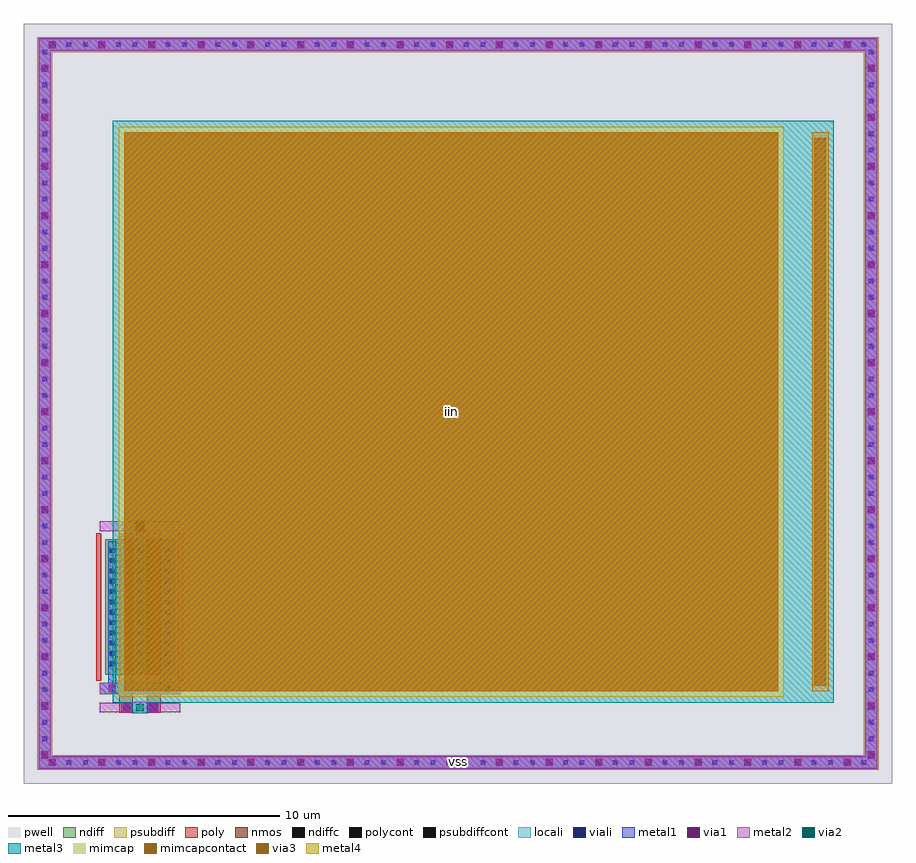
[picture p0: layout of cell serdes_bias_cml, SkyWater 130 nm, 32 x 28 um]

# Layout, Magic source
magic
tech sky130A
magscale 1 2
<< pwell >>
rect 0 0 6400 5600
<< psubdiff >>
rect 100 100 6300 210
rect 100 5390 6300 5500
rect 100 100 210 5500
rect 6190 100 6300 5500
<< locali >>
rect 112 112 6288 198
rect 112 5402 6288 5488
rect 112 112 198 5488
rect 6202 112 6288 5488
rect 720 526 788 594
rect 924 526 992 594
rect 560 656 1152 744
rect 624 656 680 1784
rect 828 816 884 1896
rect 1032 656 1088 1784
<< metal1 >>
rect 110 110 6290 200
rect 110 5400 6290 5490
rect 110 110 200 5490
rect 6200 110 6290 5490
rect 176 121 244 189
rect 176 5411 244 5479
rect 542 121 610 189
rect 542 5411 610 5479
rect 908 121 976 189
rect 908 5411 976 5479
rect 1274 121 1342 189
rect 1274 5411 1342 5479
rect 1640 121 1708 189
rect 1640 5411 1708 5479
rect 2007 121 2075 189
rect 2007 5411 2075 5479
rect 2373 121 2441 189
rect 2373 5411 2441 5479
rect 2739 121 2807 189
rect 2739 5411 2807 5479
rect 3105 121 3173 189
rect 3105 5411 3173 5479
rect 3471 121 3539 189
rect 3471 5411 3539 5479
rect 3837 121 3905 189
rect 3837 5411 3905 5479
rect 4203 121 4271 189
rect 4203 5411 4271 5479
rect 4569 121 4637 189
rect 4569 5411 4637 5479
rect 4936 121 5004 189
rect 4936 5411 5004 5479
rect 5302 121 5370 189
rect 5302 5411 5370 5479
rect 5668 121 5736 189
rect 5668 5411 5736 5479
rect 6034 121 6102 189
rect 6034 5411 6102 5479
rect 121 176 189 244
rect 6211 176 6279 244
rect 121 537 189 605
rect 6211 537 6279 605
rect 121 899 189 967
rect 6211 899 6279 967
rect 121 1260 189 1328
rect 6211 1260 6279 1328
rect 121 1622 189 1690
rect 6211 1622 6279 1690
rect 121 1983 189 2051
rect 6211 1983 6279 2051
rect 121 2344 189 2412
rect 6211 2344 6279 2412
rect 121 2706 189 2774
rect 6211 2706 6279 2774
rect 121 3067 189 3135
rect 6211 3067 6279 3135
rect 121 3429 189 3497
rect 6211 3429 6279 3497
rect 121 3790 189 3858
rect 6211 3790 6279 3858
rect 121 4151 189 4219
rect 6211 4151 6279 4219
rect 121 4513 189 4581
rect 6211 4513 6279 4581
rect 121 4874 189 4942
rect 6211 4874 6279 4942
rect 121 5236 189 5304
rect 6211 5236 6279 5304
rect 720 526 788 594
rect 924 526 992 594
rect 560 656 1152 744
rect 624 656 680 1784
rect 618 666 686 734
rect 828 816 884 1928
rect 822 1862 890 1930
rect 1032 656 1088 1784
rect 1026 666 1094 734
<< metal2 >>
rect 110 110 6290 200
rect 110 5400 6290 5490
rect 110 110 200 5490
rect 6200 110 6290 5490
rect 176 121 244 189
rect 176 5411 244 5479
rect 542 121 610 189
rect 542 5411 610 5479
rect 908 121 976 189
rect 908 5411 976 5479
rect 1274 121 1342 189
rect 1274 5411 1342 5479
rect 1640 121 1708 189
rect 1640 5411 1708 5479
rect 2007 121 2075 189
rect 2007 5411 2075 5479
rect 2373 121 2441 189
rect 2373 5411 2441 5479
rect 2739 121 2807 189
rect 2739 5411 2807 5479
rect 3105 121 3173 189
rect 3105 5411 3173 5479
rect 3471 121 3539 189
rect 3471 5411 3539 5479
rect 3837 121 3905 189
rect 3837 5411 3905 5479
rect 4203 121 4271 189
rect 4203 5411 4271 5479
rect 4569 121 4637 189
rect 4569 5411 4637 5479
rect 4936 121 5004 189
rect 4936 5411 5004 5479
rect 5302 121 5370 189
rect 5302 5411 5370 5479
rect 5668 121 5736 189
rect 5668 5411 5736 5479
rect 6034 121 6102 189
rect 6034 5411 6102 5479
rect 121 176 189 244
rect 6211 176 6279 244
rect 121 537 189 605
rect 6211 537 6279 605
rect 121 899 189 967
rect 6211 899 6279 967
rect 121 1260 189 1328
rect 6211 1260 6279 1328
rect 121 1622 189 1690
rect 6211 1622 6279 1690
rect 121 1983 189 2051
rect 6211 1983 6279 2051
rect 121 2344 189 2412
rect 6211 2344 6279 2412
rect 121 2706 189 2774
rect 6211 2706 6279 2774
rect 121 3067 189 3135
rect 6211 3067 6279 3135
rect 121 3429 189 3497
rect 6211 3429 6279 3497
rect 121 3790 189 3858
rect 6211 3790 6279 3858
rect 121 4151 189 4219
rect 6211 4151 6279 4219
rect 121 4513 189 4581
rect 6211 4513 6279 4581
rect 121 4874 189 4942
rect 6211 4874 6279 4942
rect 121 5236 189 5304
rect 6211 5236 6279 5304
rect 720 526 788 594
rect 924 526 992 594
rect 560 524 1152 596
rect 560 656 1152 744
rect 560 1860 1152 1932
rect 618 666 686 734
rect 822 1862 890 1930
rect 1026 666 1094 734
rect 814 518 898 602
rect 814 1854 898 1938
<< psubdiffcont >>
rect 193 138 227 172
rect 193 5428 227 5462
rect 315 138 349 172
rect 315 5428 349 5462
rect 437 138 471 172
rect 437 5428 471 5462
rect 559 138 593 172
rect 559 5428 593 5462
rect 681 138 715 172
rect 681 5428 715 5462
rect 803 138 837 172
rect 803 5428 837 5462
rect 925 138 959 172
rect 925 5428 959 5462
rect 1047 138 1081 172
rect 1047 5428 1081 5462
rect 1169 138 1203 172
rect 1169 5428 1203 5462
rect 1291 138 1325 172
rect 1291 5428 1325 5462
rect 1413 138 1447 172
rect 1413 5428 1447 5462
rect 1535 138 1569 172
rect 1535 5428 1569 5462
rect 1657 138 1691 172
rect 1657 5428 1691 5462
rect 1780 138 1814 172
rect 1780 5428 1814 5462
rect 1902 138 1936 172
rect 1902 5428 1936 5462
rect 2024 138 2058 172
rect 2024 5428 2058 5462
rect 2146 138 2180 172
rect 2146 5428 2180 5462
rect 2268 138 2302 172
rect 2268 5428 2302 5462
rect 2390 138 2424 172
rect 2390 5428 2424 5462
rect 2512 138 2546 172
rect 2512 5428 2546 5462
rect 2634 138 2668 172
rect 2634 5428 2668 5462
rect 2756 138 2790 172
rect 2756 5428 2790 5462
rect 2878 138 2912 172
rect 2878 5428 2912 5462
rect 3000 138 3034 172
rect 3000 5428 3034 5462
rect 3122 138 3156 172
rect 3122 5428 3156 5462
rect 3244 138 3278 172
rect 3244 5428 3278 5462
rect 3366 138 3400 172
rect 3366 5428 3400 5462
rect 3488 138 3522 172
rect 3488 5428 3522 5462
rect 3610 138 3644 172
rect 3610 5428 3644 5462
rect 3732 138 3766 172
rect 3732 5428 3766 5462
rect 3854 138 3888 172
rect 3854 5428 3888 5462
rect 3976 138 4010 172
rect 3976 5428 4010 5462
rect 4098 138 4132 172
rect 4098 5428 4132 5462
rect 4220 138 4254 172
rect 4220 5428 4254 5462
rect 4342 138 4376 172
rect 4342 5428 4376 5462
rect 4464 138 4498 172
rect 4464 5428 4498 5462
rect 4586 138 4620 172
rect 4586 5428 4620 5462
rect 4709 138 4743 172
rect 4709 5428 4743 5462
rect 4831 138 4865 172
rect 4831 5428 4865 5462
rect 4953 138 4987 172
rect 4953 5428 4987 5462
rect 5075 138 5109 172
rect 5075 5428 5109 5462
rect 5197 138 5231 172
rect 5197 5428 5231 5462
rect 5319 138 5353 172
rect 5319 5428 5353 5462
rect 5441 138 5475 172
rect 5441 5428 5475 5462
rect 5563 138 5597 172
rect 5563 5428 5597 5462
rect 5685 138 5719 172
rect 5685 5428 5719 5462
rect 5807 138 5841 172
rect 5807 5428 5841 5462
rect 5929 138 5963 172
rect 5929 5428 5963 5462
rect 6051 138 6085 172
rect 6051 5428 6085 5462
rect 6173 138 6207 172
rect 6173 5428 6207 5462
rect 138 193 172 227
rect 6228 193 6262 227
rect 138 313 172 347
rect 6228 313 6262 347
rect 138 434 172 468
rect 6228 434 6262 468
rect 138 554 172 588
rect 6228 554 6262 588
rect 138 675 172 709
rect 6228 675 6262 709
rect 138 795 172 829
rect 6228 795 6262 829
rect 138 916 172 950
rect 6228 916 6262 950
rect 138 1036 172 1070
rect 6228 1036 6262 1070
rect 138 1157 172 1191
rect 6228 1157 6262 1191
rect 138 1277 172 1311
rect 6228 1277 6262 1311
rect 138 1398 172 1432
rect 6228 1398 6262 1432
rect 138 1518 172 1552
rect 6228 1518 6262 1552
rect 138 1639 172 1673
rect 6228 1639 6262 1673
rect 138 1759 172 1793
rect 6228 1759 6262 1793
rect 138 1880 172 1914
rect 6228 1880 6262 1914
rect 138 2000 172 2034
rect 6228 2000 6262 2034
rect 138 2120 172 2154
rect 6228 2120 6262 2154
rect 138 2241 172 2275
rect 6228 2241 6262 2275
rect 138 2361 172 2395
rect 6228 2361 6262 2395
rect 138 2482 172 2516
rect 6228 2482 6262 2516
rect 138 2602 172 2636
rect 6228 2602 6262 2636
rect 138 2723 172 2757
rect 6228 2723 6262 2757
rect 138 2843 172 2877
rect 6228 2843 6262 2877
rect 138 2964 172 2998
rect 6228 2964 6262 2998
rect 138 3084 172 3118
rect 6228 3084 6262 3118
rect 138 3205 172 3239
rect 6228 3205 6262 3239
rect 138 3325 172 3359
rect 6228 3325 6262 3359
rect 138 3446 172 3480
rect 6228 3446 6262 3480
rect 138 3566 172 3600
rect 6228 3566 6262 3600
rect 138 3686 172 3720
rect 6228 3686 6262 3720
rect 138 3807 172 3841
rect 6228 3807 6262 3841
rect 138 3927 172 3961
rect 6228 3927 6262 3961
rect 138 4048 172 4082
rect 6228 4048 6262 4082
rect 138 4168 172 4202
rect 6228 4168 6262 4202
rect 138 4289 172 4323
rect 6228 4289 6262 4323
rect 138 4409 172 4443
rect 6228 4409 6262 4443
rect 138 4530 172 4564
rect 6228 4530 6262 4564
rect 138 4650 172 4684
rect 6228 4650 6262 4684
rect 138 4771 172 4805
rect 6228 4771 6262 4805
rect 138 4891 172 4925
rect 6228 4891 6262 4925
rect 138 5012 172 5046
rect 6228 5012 6262 5046
rect 138 5132 172 5166
rect 6228 5132 6262 5166
rect 138 5253 172 5287
rect 6228 5253 6262 5287
rect 138 5373 172 5407
rect 6228 5373 6262 5407
<< viali >>
rect 193 138 227 172
rect 193 5428 227 5462
rect 315 138 349 172
rect 315 5428 349 5462
rect 437 138 471 172
rect 437 5428 471 5462
rect 559 138 593 172
rect 559 5428 593 5462
rect 681 138 715 172
rect 681 5428 715 5462
rect 803 138 837 172
rect 803 5428 837 5462
rect 925 138 959 172
rect 925 5428 959 5462
rect 1047 138 1081 172
rect 1047 5428 1081 5462
rect 1169 138 1203 172
rect 1169 5428 1203 5462
rect 1291 138 1325 172
rect 1291 5428 1325 5462
rect 1413 138 1447 172
rect 1413 5428 1447 5462
rect 1535 138 1569 172
rect 1535 5428 1569 5462
rect 1657 138 1691 172
rect 1657 5428 1691 5462
rect 1780 138 1814 172
rect 1780 5428 1814 5462
rect 1902 138 1936 172
rect 1902 5428 1936 5462
rect 2024 138 2058 172
rect 2024 5428 2058 5462
rect 2146 138 2180 172
rect 2146 5428 2180 5462
rect 2268 138 2302 172
rect 2268 5428 2302 5462
rect 2390 138 2424 172
rect 2390 5428 2424 5462
rect 2512 138 2546 172
rect 2512 5428 2546 5462
rect 2634 138 2668 172
rect 2634 5428 2668 5462
rect 2756 138 2790 172
rect 2756 5428 2790 5462
rect 2878 138 2912 172
rect 2878 5428 2912 5462
rect 3000 138 3034 172
rect 3000 5428 3034 5462
rect 3122 138 3156 172
rect 3122 5428 3156 5462
rect 3244 138 3278 172
rect 3244 5428 3278 5462
rect 3366 138 3400 172
rect 3366 5428 3400 5462
rect 3488 138 3522 172
rect 3488 5428 3522 5462
rect 3610 138 3644 172
rect 3610 5428 3644 5462
rect 3732 138 3766 172
rect 3732 5428 3766 5462
rect 3854 138 3888 172
rect 3854 5428 3888 5462
rect 3976 138 4010 172
rect 3976 5428 4010 5462
rect 4098 138 4132 172
rect 4098 5428 4132 5462
rect 4220 138 4254 172
rect 4220 5428 4254 5462
rect 4342 138 4376 172
rect 4342 5428 4376 5462
rect 4464 138 4498 172
rect 4464 5428 4498 5462
rect 4586 138 4620 172
rect 4586 5428 4620 5462
rect 4709 138 4743 172
rect 4709 5428 4743 5462
rect 4831 138 4865 172
rect 4831 5428 4865 5462
rect 4953 138 4987 172
rect 4953 5428 4987 5462
rect 5075 138 5109 172
rect 5075 5428 5109 5462
rect 5197 138 5231 172
rect 5197 5428 5231 5462
rect 5319 138 5353 172
rect 5319 5428 5353 5462
rect 5441 138 5475 172
rect 5441 5428 5475 5462
rect 5563 138 5597 172
rect 5563 5428 5597 5462
rect 5685 138 5719 172
rect 5685 5428 5719 5462
rect 5807 138 5841 172
rect 5807 5428 5841 5462
rect 5929 138 5963 172
rect 5929 5428 5963 5462
rect 6051 138 6085 172
rect 6051 5428 6085 5462
rect 6173 138 6207 172
rect 6173 5428 6207 5462
rect 138 193 172 227
rect 6228 193 6262 227
rect 138 313 172 347
rect 6228 313 6262 347
rect 138 434 172 468
rect 6228 434 6262 468
rect 138 554 172 588
rect 6228 554 6262 588
rect 138 675 172 709
rect 6228 675 6262 709
rect 138 795 172 829
rect 6228 795 6262 829
rect 138 916 172 950
rect 6228 916 6262 950
rect 138 1036 172 1070
rect 6228 1036 6262 1070
rect 138 1157 172 1191
rect 6228 1157 6262 1191
rect 138 1277 172 1311
rect 6228 1277 6262 1311
rect 138 1398 172 1432
rect 6228 1398 6262 1432
rect 138 1518 172 1552
rect 6228 1518 6262 1552
rect 138 1639 172 1673
rect 6228 1639 6262 1673
rect 138 1759 172 1793
rect 6228 1759 6262 1793
rect 138 1880 172 1914
rect 6228 1880 6262 1914
rect 138 2000 172 2034
rect 6228 2000 6262 2034
rect 138 2120 172 2154
rect 6228 2120 6262 2154
rect 138 2241 172 2275
rect 6228 2241 6262 2275
rect 138 2361 172 2395
rect 6228 2361 6262 2395
rect 138 2482 172 2516
rect 6228 2482 6262 2516
rect 138 2602 172 2636
rect 6228 2602 6262 2636
rect 138 2723 172 2757
rect 6228 2723 6262 2757
rect 138 2843 172 2877
rect 6228 2843 6262 2877
rect 138 2964 172 2998
rect 6228 2964 6262 2998
rect 138 3084 172 3118
rect 6228 3084 6262 3118
rect 138 3205 172 3239
rect 6228 3205 6262 3239
rect 138 3325 172 3359
rect 6228 3325 6262 3359
rect 138 3446 172 3480
rect 6228 3446 6262 3480
rect 138 3566 172 3600
rect 6228 3566 6262 3600
rect 138 3686 172 3720
rect 6228 3686 6262 3720
rect 138 3807 172 3841
rect 6228 3807 6262 3841
rect 138 3927 172 3961
rect 6228 3927 6262 3961
rect 138 4048 172 4082
rect 6228 4048 6262 4082
rect 138 4168 172 4202
rect 6228 4168 6262 4202
rect 138 4289 172 4323
rect 6228 4289 6262 4323
rect 138 4409 172 4443
rect 6228 4409 6262 4443
rect 138 4530 172 4564
rect 6228 4530 6262 4564
rect 138 4650 172 4684
rect 6228 4650 6262 4684
rect 138 4771 172 4805
rect 6228 4771 6262 4805
rect 138 4891 172 4925
rect 6228 4891 6262 4925
rect 138 5012 172 5046
rect 6228 5012 6262 5046
rect 138 5132 172 5166
rect 6228 5132 6262 5166
rect 138 5253 172 5287
rect 6228 5253 6262 5287
rect 138 5373 172 5407
rect 6228 5373 6262 5407
rect 737 543 771 577
rect 941 543 975 577
rect 635 865 669 899
rect 635 941 669 975
rect 635 1017 669 1051
rect 635 1093 669 1127
rect 635 1169 669 1203
rect 635 1245 669 1279
rect 635 1321 669 1355
rect 635 1397 669 1431
rect 635 1473 669 1507
rect 635 1549 669 1583
rect 635 1625 669 1659
rect 635 1701 669 1735
rect 839 865 873 899
rect 839 941 873 975
rect 839 1017 873 1051
rect 839 1093 873 1127
rect 839 1169 873 1203
rect 839 1245 873 1279
rect 839 1321 873 1355
rect 839 1397 873 1431
rect 839 1473 873 1507
rect 839 1549 873 1583
rect 839 1625 873 1659
rect 839 1701 873 1735
rect 1043 865 1077 899
rect 1043 941 1077 975
rect 1043 1017 1077 1051
rect 1043 1093 1077 1127
rect 1043 1169 1077 1203
rect 1043 1245 1077 1279
rect 1043 1321 1077 1355
rect 1043 1397 1077 1431
rect 1043 1473 1077 1507
rect 1043 1549 1077 1583
rect 1043 1625 1077 1659
rect 1043 1701 1077 1735
<< via1 >>
rect 184 129 236 181
rect 184 5419 236 5471
rect 550 129 602 181
rect 550 5419 602 5471
rect 916 129 968 181
rect 916 5419 968 5471
rect 1282 129 1334 181
rect 1282 5419 1334 5471
rect 1648 129 1700 181
rect 1648 5419 1700 5471
rect 2015 129 2067 181
rect 2015 5419 2067 5471
rect 2381 129 2433 181
rect 2381 5419 2433 5471
rect 2747 129 2799 181
rect 2747 5419 2799 5471
rect 3113 129 3165 181
rect 3113 5419 3165 5471
rect 3479 129 3531 181
rect 3479 5419 3531 5471
rect 3845 129 3897 181
rect 3845 5419 3897 5471
rect 4211 129 4263 181
rect 4211 5419 4263 5471
rect 4577 129 4629 181
rect 4577 5419 4629 5471
rect 4944 129 4996 181
rect 4944 5419 4996 5471
rect 5310 129 5362 181
rect 5310 5419 5362 5471
rect 5676 129 5728 181
rect 5676 5419 5728 5471
rect 6042 129 6094 181
rect 6042 5419 6094 5471
rect 129 184 181 236
rect 6219 184 6271 236
rect 129 545 181 597
rect 6219 545 6271 597
rect 129 907 181 959
rect 6219 907 6271 959
rect 129 1268 181 1320
rect 6219 1268 6271 1320
rect 129 1630 181 1682
rect 6219 1630 6271 1682
rect 129 1991 181 2043
rect 6219 1991 6271 2043
rect 129 2352 181 2404
rect 6219 2352 6271 2404
rect 129 2714 181 2766
rect 6219 2714 6271 2766
rect 129 3075 181 3127
rect 6219 3075 6271 3127
rect 129 3437 181 3489
rect 6219 3437 6271 3489
rect 129 3798 181 3850
rect 6219 3798 6271 3850
rect 129 4159 181 4211
rect 6219 4159 6271 4211
rect 129 4521 181 4573
rect 6219 4521 6271 4573
rect 129 4882 181 4934
rect 6219 4882 6271 4934
rect 129 5244 181 5296
rect 6219 5244 6271 5296
rect 728 534 780 586
rect 932 534 984 586
rect 626 674 678 726
rect 830 1870 882 1922
rect 1034 674 1086 726
<< ndiff >>
rect 600 800 1112 1800
<< poly >>
rect 704 520 804 1844
rect 704 522 804 598
rect 908 520 1008 1844
rect 908 522 1008 598
rect 536 756 572 1844
rect 1140 756 1176 1844
<< nmos >>
rect 704 800 804 1800
rect 908 800 1008 1800
<< polycont >>
rect 737 543 771 577
rect 941 543 975 577
<< ndiffc >>
rect 635 865 669 899
rect 635 941 669 975
rect 635 1017 669 1051
rect 635 1093 669 1127
rect 635 1169 669 1203
rect 635 1245 669 1279
rect 635 1321 669 1355
rect 635 1397 669 1431
rect 635 1473 669 1507
rect 635 1549 669 1583
rect 635 1625 669 1659
rect 635 1701 669 1735
rect 839 865 873 899
rect 839 941 873 975
rect 839 1017 873 1051
rect 839 1093 873 1127
rect 839 1169 873 1203
rect 839 1245 873 1279
rect 839 1321 873 1355
rect 839 1397 873 1431
rect 839 1473 873 1507
rect 839 1549 873 1583
rect 839 1625 873 1659
rect 839 1701 873 1735
rect 1043 865 1077 899
rect 1043 941 1077 975
rect 1043 1017 1077 1051
rect 1043 1093 1077 1127
rect 1043 1169 1077 1203
rect 1043 1245 1077 1279
rect 1043 1321 1077 1355
rect 1043 1397 1077 1431
rect 1043 1473 1077 1507
rect 1043 1549 1077 1583
rect 1043 1625 1077 1659
rect 1043 1701 1077 1735
<< via2 >>
rect 828 532 884 588
rect 828 1868 884 1924
<< metal3 >>
rect 814 518 898 602
rect 814 1854 898 1938
rect 796 516 916 1940
rect 656 596 5970 4884
rect 810 1850 902 1942
<< mimcap >>
rect 700 640 5600 4840
<< mimcapcontact >>
rect 740 680 5560 4800
<< metal4 >>
rect 740 680 5560 4800
rect 5810 680 5930 4800
rect 810 1850 902 1942
<< via3 >>
rect 5826 720 5914 4760
rect 824 1864 888 1928
<< labels >>
rlabel metal4 3150 2740 3150 2740 1 iin
rlabel metal2 3200 160 3200 160 1 vss
<< end >>
